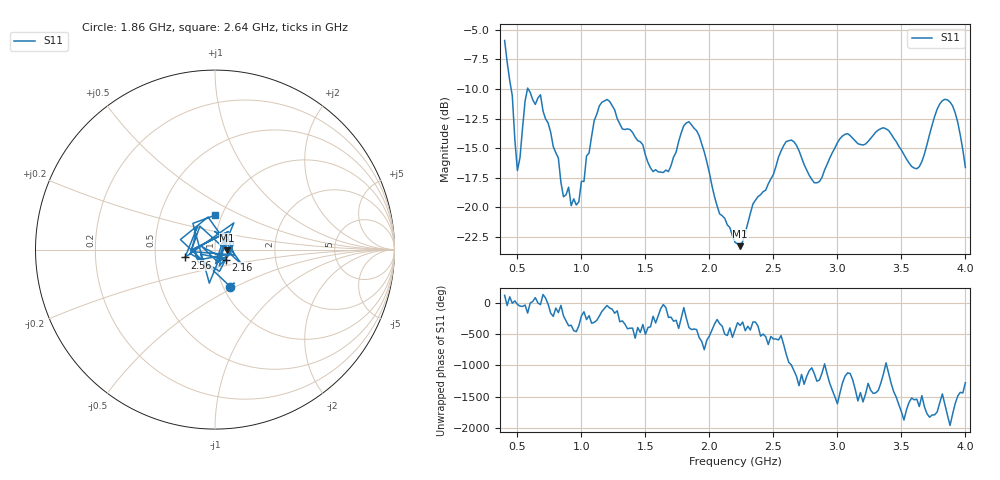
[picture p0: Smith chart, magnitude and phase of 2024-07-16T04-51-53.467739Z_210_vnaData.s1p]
!Created with skrf (http://scikit-rf.org).
# Hz S RI R 50.0
!freq ReS11 ImS11
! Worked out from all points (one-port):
!   181 points, 400 MHz to 4 GHz, reference 50 ohm
!   lowest |S11| = -23.3 dB at 2.24 GHz (marker M1), VSWR 1.15, Z = 57.3 - j0.532 ohm
!   |S11| at or under -10 dB: 451.1 MHz to 578.6 MHz (127.5 MHz wide, 24.8 % of centre); 584.2 MHz to end of sweep
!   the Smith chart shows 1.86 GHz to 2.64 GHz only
!   S11 on the Smith chart (normalised r, x): 1.86 GHz: 1.07, -0.47; 2.16 GHz: 1.12, -0.12; 2.56 GHz: 0.71, -0.06; 2.64 GHz: 0.93, +0.37
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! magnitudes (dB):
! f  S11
! 400 MHz  -5.9
! 460 MHz  -10.6
! 500 MHz  -16.9
! 580 MHz  -9.9
! 680 MHz  -10.5
! 820 MHz  -15.8
! 860 MHz  -19.1
! 980 MHz  -19.5
! 1.16 GHz  -11.1
! 1.3 GHz  -12.9
! 1.56 GHz  -17.0
! 1.68 GHz  -17.0
! 1.76 GHz  -14.4
! 1.86 GHz  -13.0
! 2.16 GHz  -21.7
! 2.2 GHz  -23.0
! 2.24 GHz  -23.3
! 2.56 GHz  -15.2
! 2.64 GHz  -14.3
! 2.66 GHz  -14.5
! 2.84 GHz  -17.9
! 3.1 GHz  -13.9
! 3.38 GHz  -13.4
! 3.56 GHz  -16.3
! 3.64 GHz  -16.6
! 3.84 GHz  -10.9
! 3.92 GHz  -12.0
! 4 GHz  -16.6
